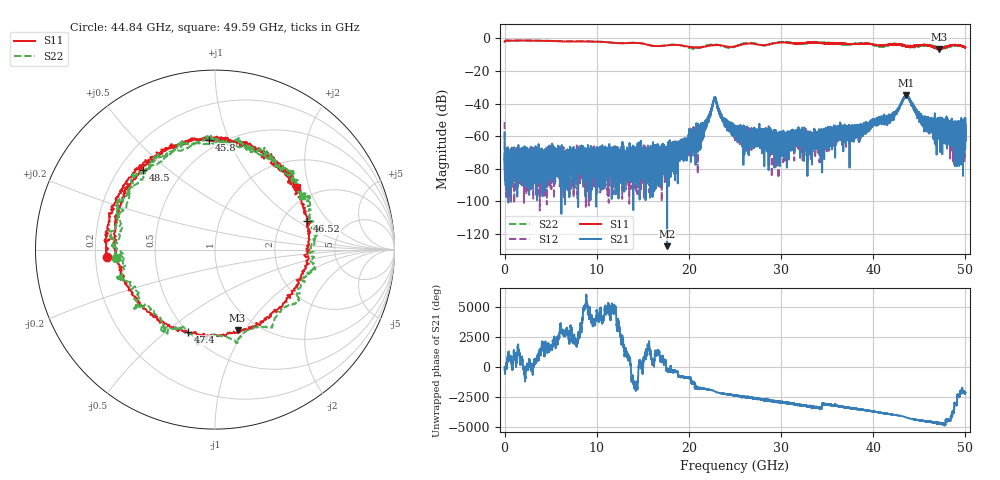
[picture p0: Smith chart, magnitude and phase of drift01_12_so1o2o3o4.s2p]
!Created with skrf (http://scikit-rf.org).
# Hz S RI R 50.0
!freq ReS11 ImS11 ReS21 ImS21 ReS12 ImS12 ReS22 ImS22
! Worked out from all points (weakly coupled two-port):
!   10001 points, 300 kHz to 50 GHz, reference 50 ohm
!   highest |S21| = -34.88 dB at 43.59 GHz (marker M1); lowest = -127.4 dB at 17.64 GHz (marker M2)
!   lowest |S11| = -6.7 dB at 47.18 GHz (marker M3), VSWR 2.74, Z = 40.7 - j46.4 ohm
!   |S11| at or under -10 dB: nowhere
!   |S22| runs from -6.7 to -1.4 dB; largest |S21 - S12| = 0.004
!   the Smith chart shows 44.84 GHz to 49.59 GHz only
!   S11 on the Smith chart (normalised r, x): 44.84 GHz: 0.25, -0.03; 45.8 GHz: 0.43, +0.85; 46.52 GHz: 2.72, +1.22; 47.4 GHz: 0.50, -0.60; 48.5 GHz: 0.30, +0.41; 49.59 GHz: 1.61, +1.66
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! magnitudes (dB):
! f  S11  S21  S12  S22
! 300 kHz  -2.1  -57.6  -51.3  -2.1
! 270.3 MHz  -1.4  -77.5  -80.5  -1.4
! 8.335 GHz  -2.0  -65.7  -85.8  -1.8
! 16.67 GHz  -4.8  -75.7  -71.3  -4.8
! 17.64 GHz  -4.4  -127.4  -79.6  -4.2
! 20.9 GHz  -5.7  -59.3  -68.6  -6.2
! 21.96 GHz  -4.8  -50.1  -50.0  -4.4
! 22.81 GHz  -4.3  -35.9  -36.3  -4.0
! 23.76 GHz  -4.7  -51.4  -49.9  -5.0
! 25 GHz  -5.0  -57.9  -57.3  -5.1
! 29.84 GHz  -2.7  -61.2  -68.4  -2.4
! 33.34 GHz  -2.6  -60.6  -60.4  -2.7
! 41.67 GHz  -3.9  -49.0  -48.2  -4.3
! 43.59 GHz  -4.8  -34.9  -35.2  -4.8
! 44.84 GHz  -4.4  -46.2  -47.6  -5.2
! 45.8 GHz  -4.3  -53.9  -50.7  -4.3
! 46.52 GHz  -5.4  -49.2  -51.5  -5.1
! 47.18 GHz  -6.7  -61.9  -55.2  -6.3
! 47.4 GHz  -6.3  -64.9  -54.2  -5.5
! 48.5 GHz  -4.5  -59.9  -63.0  -5.0
! 49.59 GHz  -4.9  -77.5  -56.3  -4.9
! 50 GHz  -5.5  -52.8  -61.2  -5.4
